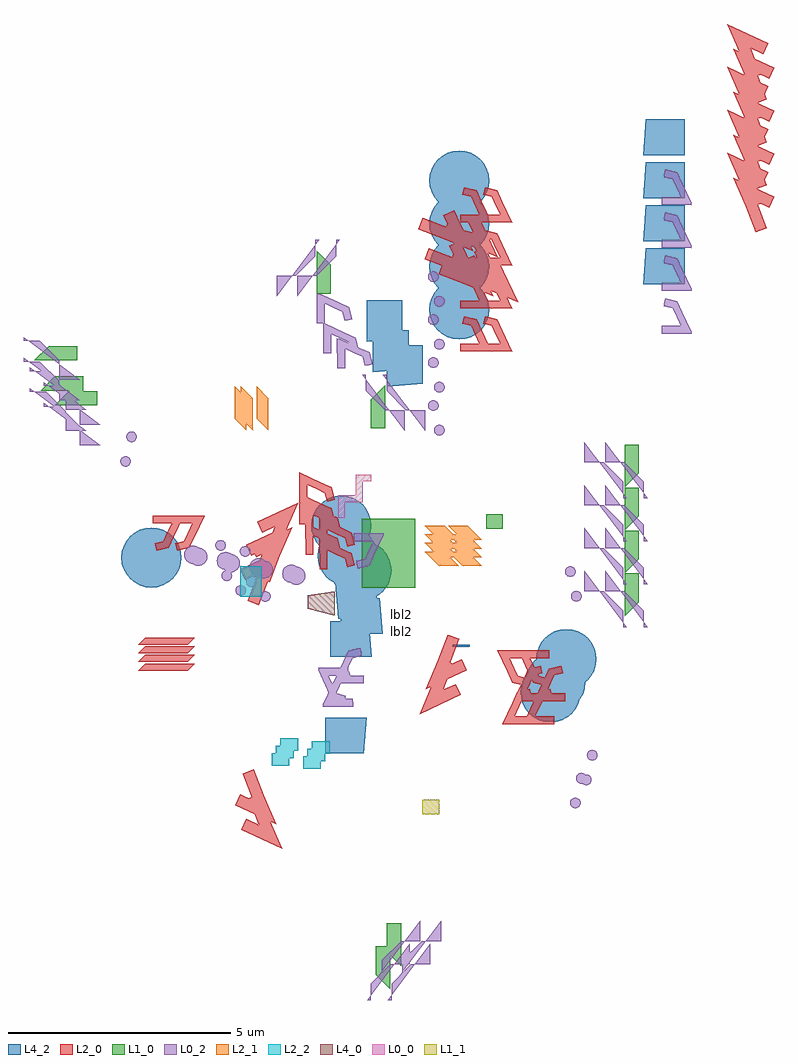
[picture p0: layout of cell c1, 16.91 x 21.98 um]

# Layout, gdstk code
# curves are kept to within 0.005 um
from math import pi, radians
import gdstk
lib = gdstk.Library(unit=1e-6, precision=2.5e-09)
def R(c, l, rs):  # rectangles x0, y0, x1, y1
    for r in rs: c.add(gdstk.rectangle(r[:2], r[2:], *l))
def A(c, l, x, y, w, h, nx, ny, dx, dy):  # array of equal rectangles
    R(c, l, [(x+i*dx, y+j*dy, x+i*dx+w, y+j*dy+h) for i in range(nx) for j in range(ny)])
def P(c, l, *ps):  # polygons
    for p in ps: c.add(gdstk.Polygon(p, *l))
L0_0 = (0, 0)
L0_2 = (0, 2)
L1_0 = (1, 0)
L1_1 = (1, 1)
L2_0 = (2, 0)
L2_1 = (2, 1)
L2_2 = (2, 2)
L4_0 = (4, 0)
L4_2 = (4, 2)

c_c0 = lib.new_cell('c0')
P(c_c0, L0_2, [(3.43,0.705),(3.89,0.705),(3.89,1.14),(4.3275,1.5775),(4.6975,1.5775),(4.6975,1.6625)],
  [(3.43,1.17),(3.89,1.17),(3.89,1.605),(4.3275,2.0425),(4.6975,2.0425),(4.6975,2.1275)],
  [(-0.175,-2.6975),(-0.185,-2.6525),(-0.21,-2.6125),(-0.25,-2.5875),(-0.295,-2.5775),(-0.34,-2.5875),(-0.38,-2.6125),(-0.405,-2.6525),(-0.415,-2.6975),(-0.405,-2.7425),(-0.38,-2.7825),(-0.34,-2.8075),(-0.295,-2.8175),(-0.25,-2.8075),(-0.21,-2.7825),(-0.185,-2.7425)],
  [(0.38,-2.5625),(0.37,-2.5175),(0.345,-2.4775),(0.305,-2.4525),(0.26,-2.4425),(0.215,-2.4525),(0.175,-2.4775),(0.15,-2.5175),(0.14,-2.5625),(0.15,-2.6075),(0.175,-2.6475),(0.215,-2.6725),(0.26,-2.6825),(0.305,-2.6725),(0.345,-2.6475),(0.37,-2.6075)])
P(c_c0, L1_0, [(3.4875,1.6075),(3.4875,1.9275),(4.1325,1.9275),(4.4525,1.6075)])
P(c_c0, L4_2, [(-3.835,2.09),(-3.835,2.9625),(-3.03,2.9625),(-3.03,2.025)],
  [(-1.785,-2.115),(-1.7975,-1.9825),(-1.8375,-1.8575),(-1.9,-1.74),(-1.9825,-1.6375),(-2.085,-1.555),(-2.2025,-1.4925),(-2.3275,-1.4525),(-2.46,-1.44),(-2.5925,-1.4525),(-2.7175,-1.4925),(-2.835,-1.555),(-2.9375,-1.6375),(-3.02,-1.74),(-3.0825,-1.8575),(-3.1225,-1.9825),(-3.135,-2.115),(-3.1225,-2.2475),(-3.0825,-2.3725),(-3.02,-2.49),(-2.9375,-2.5925),(-2.835,-2.675),(-2.7175,-2.7375),(-2.5925,-2.7775),(-2.46,-2.79),(-2.3275,-2.7775),(-2.2025,-2.7375),(-2.085,-2.675),(-1.9825,-2.5925),(-1.9,-2.49),(-1.8375,-2.3725),(-1.7975,-2.2475)])
c_c0.add(gdstk.FlexPath([(-2.02,2.515),(-2.0175,3.01),(-2.3675,2.845),(-2.5825,2.7475),(-2.625,2.58)], 0.14, ends="extended", simple_path=True, layer=0, datatype=2))  # L0_2
c_c0.add(gdstk.FlexPath([(-1.98,2.515),(-1.9775,3.01),(-2.3275,2.845),(-2.5425,2.7475),(-2.585,2.58)], 0.14, ends="extended", simple_path=True, layer=0, datatype=2))  # L0_2
c_c0.add(gdstk.FlexPath([(-1.6025,-2.0175),(-1.6,-1.5225),(-1.95,-1.6875),(-2.165,-1.785),(-2.2075,-1.9525)], 0.175, ends=(0.07, 0.07), simple_path=True, layer=2, datatype=0))  # L2_0
c_c0.add(gdstk.FlexPath([(-1.6025,-1.5525),(-1.6,-1.0575),(-1.95,-1.2225),(-2.165,-1.32),(-2.2075,-1.4875)], 0.175, ends=(0.07, 0.07), simple_path=True, layer=2, datatype=0))  # L2_0
c_c0.add(gdstk.FlexPath([(-4.9225,4.505),(-5.3875,4.3275),(-5.7125,4.1875),(-5.4875,4.67)], 0.27, ends="extended", simple_path=True, layer=2, datatype=0))  # L2_0
c_c0.add(gdstk.FlexPath([(-4.3675,4.64),(-4.8325,4.4625),(-5.1575,4.3225),(-4.9325,4.805)], 0.27, ends="extended", simple_path=True, layer=2, datatype=0))  # L2_0
c_c0.add(gdstk.Label('lbl2', (-0.4825,-4.805), layer=2, texttype=2))
c_c0.add(gdstk.Label('lbl2', (-0.4825,-4.34), layer=2, texttype=2))

c_c1 = lib.new_cell('c1')
P(c_c1, L0_2, [(-3.0375,0.9175),(-3.0525,0.995),(-3.0975,1.0625),(-3.165,1.1075),(-3.2425,1.1225),(-3.32,1.1075),(-3.3875,1.0625),(-3.4325,0.995),(-3.4475,0.9175),(-3.4325,0.84),(-3.3875,0.7725),(-3.32,0.7275),(-3.2425,0.7125),(-3.165,0.7275),(-3.0975,0.7725),(-3.0525,0.84)],
  [(-2.3,0.775),(-2.315,0.8525),(-2.36,0.92),(-2.4275,0.965),(-2.505,0.98),(-2.5825,0.965),(-2.65,0.92),(-2.695,0.8525),(-2.71,0.775),(-2.695,0.6975),(-2.65,0.63),(-2.5825,0.585),(-2.505,0.57),(-2.4275,0.585),(-2.36,0.63),(-2.315,0.6975)],
  [(-1.5625,0.6325),(-1.5775,0.71),(-1.6225,0.7775),(-1.69,0.8225),(-1.7675,0.8375),(-1.845,0.8225),(-1.9125,0.7775),(-1.9575,0.71),(-1.9725,0.6325),(-1.9575,0.555),(-1.9125,0.4875),(-1.845,0.4425),(-1.7675,0.4275),(-1.69,0.4425),(-1.6225,0.4875),(-1.5775,0.555)],
  [(-0.825,0.49),(-0.84,0.5675),(-0.885,0.635),(-0.9525,0.68),(-1.03,0.695),(-1.1075,0.68),(-1.175,0.635),(-1.22,0.5675),(-1.235,0.49),(-1.22,0.4125),(-1.175,0.345),(-1.1075,0.3),(-1.03,0.285),(-0.9525,0.3),(-0.885,0.345),(-0.84,0.4125)],
  [(-3.15,0.9675),(-3.165,1.045),(-3.21,1.1125),(-3.2775,1.1575),(-3.355,1.1725),(-3.4325,1.1575),(-3.5,1.1125),(-3.545,1.045),(-3.56,0.9675),(-3.545,0.89),(-3.5,0.8225),(-3.4325,0.7775),(-3.355,0.7625),(-3.2775,0.7775),(-3.21,0.8225),(-3.165,0.89)],
  [(-2.4125,0.825),(-2.4275,0.9025),(-2.4725,0.97),(-2.54,1.015),(-2.6175,1.03),(-2.695,1.015),(-2.7625,0.97),(-2.8075,0.9025),(-2.8225,0.825),(-2.8075,0.7475),(-2.7625,0.68),(-2.695,0.635),(-2.6175,0.62),(-2.54,0.635),(-2.4725,0.68),(-2.4275,0.7475)],
  [(-1.675,0.6825),(-1.69,0.76),(-1.735,0.8275),(-1.8025,0.8725),(-1.88,0.8875),(-1.9575,0.8725),(-2.025,0.8275),(-2.07,0.76),(-2.085,0.6825),(-2.07,0.605),(-2.025,0.5375),(-1.9575,0.4925),(-1.88,0.4775),(-1.8025,0.4925),(-1.735,0.5375),(-1.69,0.605)],
  [(-0.9375,0.54),(-0.9525,0.6175),(-0.9975,0.685),(-1.065,0.73),(-1.1425,0.745),(-1.22,0.73),(-1.2875,0.685),(-1.3325,0.6175),(-1.3475,0.54),(-1.3325,0.4625),(-1.2875,0.395),(-1.22,0.35),(-1.1425,0.335),(-1.065,0.35),(-0.9975,0.395),(-0.9525,0.4625)])
A(c_c1, L1_0, 0.445, 0.225, 0.68, 0.9675, 1, 4, 0, 0.1925)
A(c_c1, L1_0, 0.97, 0.225, 0.68, 0.9675, 1, 4, 0, 0.1925)
R(c_c1, L1_0, [(3.2475,1.5525,3.62,1.875)])
R(c_c1, L1_1, [(1.81,-4.875,2.1825,-4.5525)])
P(c_c1, L2_0, [(-4.595,-1.6425),(-4.4375,-1.485),(-3.84,-1.485),(-3.9975,-1.6425)],
  [(-4.07,-1.6425),(-3.9125,-1.485),(-3.315,-1.485),(-3.4725,-1.6425)],
  [(-4.595,-1.45),(-4.4375,-1.2925),(-3.84,-1.2925),(-3.9975,-1.45)],
  [(-4.07,-1.45),(-3.9125,-1.2925),(-3.315,-1.2925),(-3.4725,-1.45)],
  [(-4.595,-1.2575),(-4.4375,-1.1),(-3.84,-1.1),(-3.9975,-1.2575)],
  [(-4.07,-1.2575),(-3.9125,-1.1),(-3.315,-1.1),(-3.4725,-1.2575)],
  [(-4.595,-1.065),(-4.4375,-0.9075),(-3.84,-0.9075),(-3.9975,-1.065)],
  [(-4.07,-1.065),(-3.9125,-0.9075),(-3.315,-0.9075),(-3.4725,-1.065)])
P(c_c1, L2_1, [(2.18,0.72),(1.8625,1.0375),(2.3075,1.0375),(2.625,0.72)],
  [(2.705,0.72),(2.3875,1.0375),(2.8325,1.0375),(3.15,0.72)],
  [(2.18,0.9125),(1.8625,1.23),(2.3075,1.23),(2.625,0.9125)],
  [(2.705,0.9125),(2.3875,1.23),(2.8325,1.23),(3.15,0.9125)],
  [(2.18,1.105),(1.8625,1.4225),(2.3075,1.4225),(2.625,1.105)],
  [(2.705,1.105),(2.3875,1.4225),(2.8325,1.4225),(3.15,1.105)],
  [(2.18,1.2975),(1.8625,1.615),(2.3075,1.615),(2.625,1.2975)],
  [(2.705,1.2975),(2.3875,1.615),(2.8325,1.615),(3.15,1.2975)],
  [(-2.4225,4.03),(-2.4225,4.755),(-2.16,4.4925),(-2.16,3.7675)],
  [(-2.28,4.03),(-2.28,4.755),(-2.0175,4.4925),(-2.0175,3.7675)],
  [(-1.9275,4.03),(-1.9275,4.755),(-1.665,4.4925),(-1.665,3.7675)])
R(c_c1, L2_2, [(-0.88,-3.8525,-0.48,-3.575), (-1.59,-3.7875,-1.19,-3.51), (-0.78,-3.6825,-0.38,-3.405), (-1.49,-3.6175,-1.09,-3.34), (-0.68,-3.5125,-0.28,-3.235), (-1.39,-3.4475,-0.99,-3.17), (-2.295,0.0225,-1.885,0.7025), (-2.28,0.0225,-1.87,0.7025), (-2.215,0.0225,-1.805,0.7025)])
P(c_c1, L4_0, [(-0.7775,-0.255),(-0.7775,0.05),(-0.17,0.1475),(-0.17,-0.4125)])
A(c_c1, L4_2, 2.495, -1.1125, 0.24, 0.0525, 4, 1, 0.045, 0)
c_c1.add(gdstk.FlexPath([(-0.0175,1.7925),(-0.0175,2.2275),(0.3875,2.2275),(0.3875,2.695),(0.6575,2.695)], 0.15, ends="flush", simple_path=True, layer=0, datatype=0))  # L0_0
c_c1.add(gdstk.Reference(c_c0, (-2.4775,3.7375), rotation=pi, x_reflection=True))
c_c1.add(gdstk.Reference(c_c0, (-2.3375,3.055), rotation=pi, x_reflection=True))
c_c1.add(gdstk.Reference(c_c0, (-2.0225,2.7225), rotation=pi, x_reflection=True))
c_c1.add(gdstk.Reference(c_c0, (2.935,-3.845), rotation=3*pi/2, x_reflection=True))
c_c1.add(gdstk.Reference(c_c0, (2.69,-4.365), rotation=3*pi/2, x_reflection=True))
r = gdstk.Reference(c_c0, (4.7525,4.03), rotation=3*pi/2); r.repetition = gdstk.Repetition(1, 4, v1=(0,0), v2=(0,0.9675)); c_c1.add(r)
c_c1.add(gdstk.Reference(c_c0, (-2.18,3.36), rotation=pi/2, x_reflection=True))
c_c1.add(gdstk.Reference(c_c0, (2.5775,0.325), rotation=pi/2))
c_c1.add(gdstk.Label('lbl2', (1.33,-0.755), layer=4, texttype=1))
c_c1.add(gdstk.Label('lbl2', (1.855,-0.755), layer=4, texttype=1))
c_c1.add(gdstk.Label('lbl2', (1.33,-0.5625), layer=4, texttype=1))
c_c1.add(gdstk.Label('lbl2', (1.855,-0.5625), layer=4, texttype=1))
c_c1.add(gdstk.Label('lbl2', (1.33,-0.37), layer=4, texttype=1))
c_c1.add(gdstk.Label('lbl2', (1.855,-0.37), layer=4, texttype=1))
c_c1.add(gdstk.Label('lbl2', (1.33,-0.1775), layer=4, texttype=1))
c_c1.add(gdstk.Label('lbl2', (1.855,-0.1775), layer=4, texttype=1))

lib.write_gds('c1.gds')
